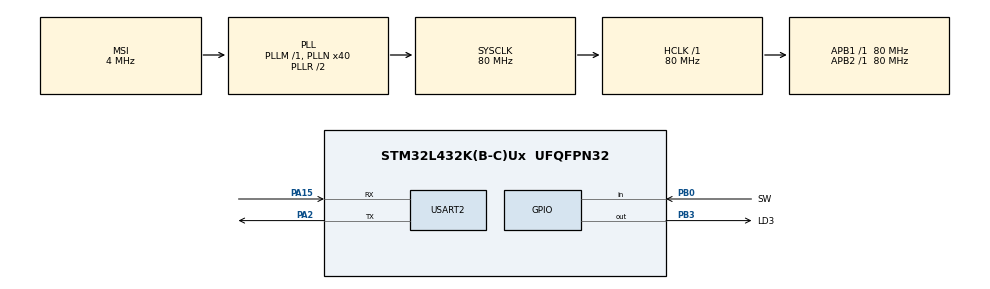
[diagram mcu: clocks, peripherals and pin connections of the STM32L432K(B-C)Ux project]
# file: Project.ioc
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Mcu.Family=STM32L4
Mcu.Name=STM32L432K(B-C)Ux
Mcu.Package=UFQFPN32
NVIC.PriorityGroup=NVIC_PRIORITYGROUP_4
NVIC.TIM6_DAC_IRQn=true\:0\:0\:false\:false\:true\:true\:true\:true
PA13\ (JTMS-SWDIO).GPIO_Label=SWDIO
PA13\ (JTMS-SWDIO).Mode=Serial_Wire
PA13\ (JTMS-SWDIO).Signal=SYS_JTMS-SWDIO
PA14\ (JTCK-SWCLK).GPIO_Label=SWCLK
PA14\ (JTCK-SWCLK).Mode=Serial_Wire
PA14\ (JTCK-SWCLK).Signal=SYS_JTCK-SWCLK
PA15\ (JTDI).Mode=Asynchronous
PA15\ (JTDI).Signal=USART2_RX
PA2.Mode=Asynchronous
PA2.Signal=USART2_TX
PB0.GPIO_Label=SW
PB0.GPIO_PuPd=GPIO_PULLUP
PB0.Signal=GPIO_Input
PB3\ (JTDO-TRACESWO).GPIO_Label=LD3
PB3\ (JTDO-TRACESWO).GPIO_ModeDefaultOutputPP=GPIO_MODE_OUTPUT_PP
PB3\ (JTDO-TRACESWO).Signal=GPIO_Output
PC14-OSC32_IN\ (PC14).Mode=LSE-External-Oscillator
PC14-OSC32_IN\ (PC14).Signal=RCC_OSC32_IN
PC15-OSC32_OUT\ (PC15).Mode=LSE-External-Oscillator
PC15-OSC32_OUT\ (PC15).Signal=RCC_OSC32_OUT
ProjectManager.HeapSize=0x200
ProjectManager.StackSize=0x400
ProjectManager.TargetToolchain=STM32CubeIDE
RCC.AHBFreq_Value=80000000
RCC.APB1Freq_Value=80000000
RCC.APB1TimFreq_Value=80000000
RCC.APB2Freq_Value=80000000
RCC.APB2TimFreq_Value=80000000
RCC.CortexFreq_Value=80000000
RCC.HCLKFreq_Value=80000000
RCC.HSE_VALUE=8000000
RCC.HSI16_VALUE=16000000
RCC.HSI48_VALUE=48000000
RCC.HSI_VALUE=16000000
RCC.MSI_VALUE=4000000
RCC.PLLMUL=RCC_PLLMUL_4
RCC.PLLN=40
RCC.SYSCLKFreq_VALUE=80000000
RCC.SYSCLKSource=RCC_SYSCLKSOURCE_PLLCLK
RCC.VCOOutputFreq_Value=160000000
TIM6.Period=10-1
TIM6.Prescaler=8000-1
TIM6.TIM_MasterOutputTrigger=TIM_TRGO_UPDATE
USART2.VirtualMode-Asynchronous=VM_ASYNC
VP_TIM6_VS_ClockSourceINT.Mode=Enable_Timer
board=NUCLEO-L432KC

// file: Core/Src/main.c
/* USER CODE BEGIN Header */
/**
  ******************************************************************************
  * @file           : main.c
  * @brief          : Main program body
  ******************************************************************************
  * @attention
  *
  * Copyright (c) 2023 STMicroelectronics.
  * All rights reserved.
  *
  * This software is licensed under terms that can be found in the LICENSE file
  * in the root directory of this software component.
  * If no LICENSE file comes with this software, it is provided AS-IS.
  *
  ******************************************************************************
  */
/* USER CODE END Header */
#include "main.h"

/* USER CODE BEGIN Includes */
#include <stdio.h>
#include <unistd.h>
#include "ssd1306.h"
/* USER CODE END Includes */

TIM_HandleTypeDef htim6;

UART_HandleTypeDef huart2;

void SystemClock_Config(void);
static void MX_GPIO_Init(void);
static void MX_USART2_UART_Init(void);
static void MX_TIM6_Init(void);

/* USER CODE BEGIN 0 */
volatile int g_sw_pressed;

int __io_putchar(int ch) {
  HAL_UART_Transmit(&huart2, (uint8_t*)&ch, 1, 0xffff);
  return ch;
}

int IsSwitchPressed() {

  return g_sw_pressed;
}

void CheckSW() {
	static uint16_t count = 0;
	if ((HAL_GPIO_ReadPin(SW_GPIO_Port, SW_Pin) == 0)) {
	    g_sw_pressed=1;
	}
	if (!(HAL_GPIO_ReadPin(SW_GPIO_Port, SW_Pin) == 0) && count==10) {
		g_sw_pressed=0;
		count=0;
	}
	if(count<10){
	    count++;
	}
}

void HAL_TIM_PeriodElapsedCallback(TIM_HandleTypeDef *htim) {
  if (htim->Instance == htim6.Instance) {
    CheckSW();
  }
}
/* USER CODE END 0 */

int main(void)
{

  /* MCU Configuration--------------------------------------------------------*/

  /* Reset of all peripherals, Initializes the Flash interface and the Systick. */
  HAL_Init();

  /* Configure the system clock */
  SystemClock_Config();

  /* Initialize all configured peripherals */
  MX_GPIO_Init();
  MX_USART2_UART_Init();
  MX_TIM6_Init();
  /* USER CODE BEGIN 2 */
  HAL_TIM_Base_Start_IT(&htim6);
  HAL_TIM_PWM_Start(&htim6, TIM_CHANNEL_6);
  /* USER CODE END 2 */

  /* Infinite loop */
  /* USER CODE BEGIN WHILE */
//  int x = 0;
//  HAL_Delay(100);
//  printf("x = %d\n", x);
  ssd1306_Init();
  ssd1306_SetCursor(0, 0);
  ssd1306_WriteString("Temperature", Font_11x18, White);
  ssd1306_UpdateScreen();
  while (1)
  {
    /* USER CODE END WHILE */
//    while (!IsSwitchPressed());
//    x++;
//    printf("x = %d\n", x);
//    while (IsSwitchPressed());
    /* USER CODE BEGIN 3 */
//    char buf[20];
//    HAL_ADC_Start(&hadc1);
//    HAL_ADC_PollForConversion(&hadc1, 0xffff);
//    uint32_t adc = HAL_ADC_GetValue(&hadc1);
//    float temp = 25.0;
//    sprintf(buf,"%d.%02d", (int)(temp*100)/100,(int)(temp*100)%100);
//    printf("ADC = %lu; Temperature = %s\n", adc, buf);
//    HAL_Delay(500);
  }
  /* USER CODE END 3 */
}

void SystemClock_Config(void)
{
  RCC_OscInitTypeDef RCC_OscInitStruct = {0};
  RCC_ClkInitTypeDef RCC_ClkInitStruct = {0};

  /** Configure the main internal regulator output voltage
  */
  if (HAL_PWREx_ControlVoltageScaling(PWR_REGULATOR_VOLTAGE_SCALE1) != HAL_OK)
  {
    Error_Handler();
  }

  /** Configure LSE Drive Capability
  */
  HAL_PWR_EnableBkUpAccess();
  __HAL_RCC_LSEDRIVE_CONFIG(RCC_LSEDRIVE_LOW);

  /** Initializes the RCC Oscillators according to the specified parameters
  * in the RCC_OscInitTypeDef structure.
  */
  RCC_OscInitStruct.OscillatorType = RCC_OSCILLATORTYPE_LSE|RCC_OSCILLATORTYPE_MSI;
  RCC_OscInitStruct.LSEState = RCC_LSE_ON;
  RCC_OscInitStruct.MSIState = RCC_MSI_ON;
  RCC_OscInitStruct.MSICalibrationValue = 0;
  RCC_OscInitStruct.MSIClockRange = RCC_MSIRANGE_6;
  RCC_OscInitStruct.PLL.PLLState = RCC_PLL_ON;
  RCC_OscInitStruct.PLL.PLLSource = RCC_PLLSOURCE_MSI;
  RCC_OscInitStruct.PLL.PLLM = 1;
  RCC_OscInitStruct.PLL.PLLN = 40;
  RCC_OscInitStruct.PLL.PLLP = RCC_PLLP_DIV7;
  RCC_OscInitStruct.PLL.PLLQ = RCC_PLLQ_DIV2;
  RCC_OscInitStruct.PLL.PLLR = RCC_PLLR_DIV2;
  if (HAL_RCC_OscConfig(&RCC_OscInitStruct) != HAL_OK)
  {
    Error_Handler();
  }

  /** Initializes the CPU, AHB and APB buses clocks
  */
  RCC_ClkInitStruct.ClockType = RCC_CLOCKTYPE_HCLK|RCC_CLOCKTYPE_SYSCLK
                              |RCC_CLOCKTYPE_PCLK1|RCC_CLOCKTYPE_PCLK2;
  RCC_ClkInitStruct.SYSCLKSource = RCC_SYSCLKSOURCE_PLLCLK;
  RCC_ClkInitStruct.AHBCLKDivider = RCC_SYSCLK_DIV1;
  RCC_ClkInitStruct.APB1CLKDivider = RCC_HCLK_DIV1;
  RCC_ClkInitStruct.APB2CLKDivider = RCC_HCLK_DIV1;

  if (HAL_RCC_ClockConfig(&RCC_ClkInitStruct, FLASH_LATENCY_4) != HAL_OK)
  {
    Error_Handler();
  }

  /** Enable MSI Auto calibration
  */
  HAL_RCCEx_EnableMSIPLLMode();
}

static void MX_TIM6_Init(void)
{

  TIM_MasterConfigTypeDef sMasterConfig = {0};

  htim6.Instance = TIM6;
  htim6.Init.Prescaler = 8000-1;
  htim6.Init.CounterMode = TIM_COUNTERMODE_UP;
  htim6.Init.Period = 10-1;
  htim6.Init.AutoReloadPreload = TIM_AUTORELOAD_PRELOAD_DISABLE;
  if (HAL_TIM_Base_Init(&htim6) != HAL_OK)
  {
    Error_Handler();
  }
  sMasterConfig.MasterOutputTrigger = TIM_TRGO_UPDATE;
  sMasterConfig.MasterSlaveMode = TIM_MASTERSLAVEMODE_DISABLE;
  if (HAL_TIMEx_MasterConfigSynchronization(&htim6, &sMasterConfig) != HAL_OK)
  {
    Error_Handler();
  }

}

static void MX_USART2_UART_Init(void)
{

  huart2.Instance = USART2;
  huart2.Init.BaudRate = 115200;
  huart2.Init.WordLength = UART_WORDLENGTH_8B;
  huart2.Init.StopBits = UART_STOPBITS_1;
  huart2.Init.Parity = UART_PARITY_NONE;
  huart2.Init.Mode = UART_MODE_TX_RX;
  huart2.Init.HwFlowCtl = UART_HWCONTROL_NONE;
  huart2.Init.OverSampling = UART_OVERSAMPLING_16;
  huart2.Init.OneBitSampling = UART_ONE_BIT_SAMPLE_DISABLE;
  huart2.AdvancedInit.AdvFeatureInit = UART_ADVFEATURE_NO_INIT;
  if (HAL_UART_Init(&huart2) != HAL_OK)
  {
    Error_Handler();
  }

}

static void MX_GPIO_Init(void)
{
  GPIO_InitTypeDef GPIO_InitStruct = {0};

  /* GPIO Ports Clock Enable */
  __HAL_RCC_GPIOC_CLK_ENABLE();
  __HAL_RCC_GPIOA_CLK_ENABLE();
  __HAL_RCC_GPIOB_CLK_ENABLE();

  /*Configure GPIO pin Output Level */
  HAL_GPIO_WritePin(LD3_GPIO_Port, LD3_Pin, GPIO_PIN_RESET);

  /*Configure GPIO pin : SW_Pin */
  GPIO_InitStruct.Pin = SW_Pin;
  GPIO_InitStruct.Mode = GPIO_MODE_INPUT;
  GPIO_InitStruct.Pull = GPIO_PULLUP;
  HAL_GPIO_Init(SW_GPIO_Port, &GPIO_InitStruct);

  /*Configure GPIO pin : LD3_Pin */
  GPIO_InitStruct.Pin = LD3_Pin;
  GPIO_InitStruct.Mode = GPIO_MODE_OUTPUT_PP;
  GPIO_InitStruct.Pull = GPIO_NOPULL;
  GPIO_InitStruct.Speed = GPIO_SPEED_FREQ_LOW;
  HAL_GPIO_Init(LD3_GPIO_Port, &GPIO_InitStruct);

}

void Error_Handler(void)
{
  __disable_irq();
  while (1)
  {
  }
}
